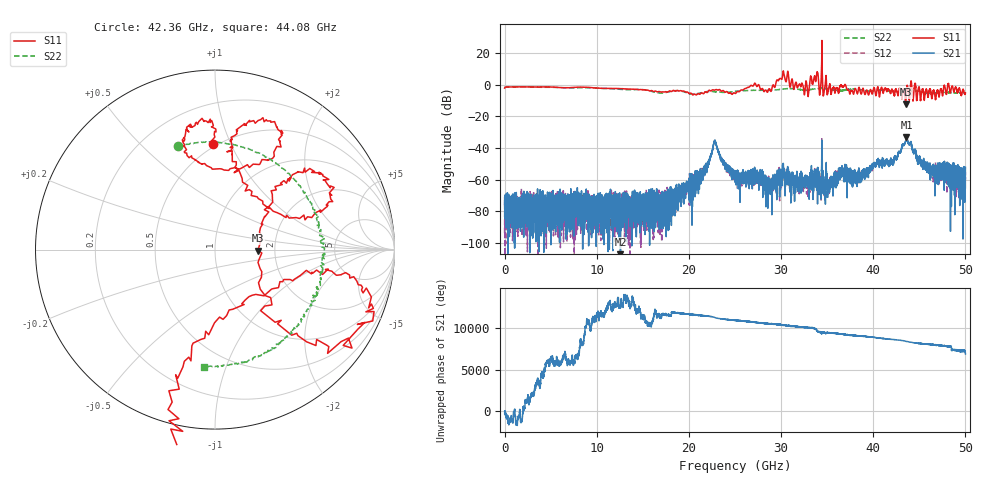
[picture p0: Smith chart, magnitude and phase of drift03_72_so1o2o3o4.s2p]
!Created with skrf (http://scikit-rf.org).
# Hz S RI R 50.0
!freq ReS11 ImS11 ReS21 ImS21 ReS12 ImS12 ReS22 ImS22
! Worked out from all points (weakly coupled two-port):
!   10000 points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, 5.3 MHz to 50 GHz, reference 50 ohm
!   highest |S21| = -33.10 dB at 43.61 GHz (marker M1); lowest = -109.9 dB at 12.58 GHz (marker M2)
!   lowest |S11| = -12.4 dB at 43.52 GHz (marker M3), VSWR 1.63, Z = 81.3 - j0.88 ohm
!   |S11| at or under -10 dB: 43.48211 GHz to 43.55698 GHz (74.87 MHz wide, 0.172 % of centre); 44.31326 GHz to 44.31665 GHz (3.387 MHz wide, 0.00764 % of centre); 44.32462 GHz to 44.33011 GHz (5.496 MHz wide, 0.0124 % of centre) (the widest 3 of 5)
!   |S22| runs from -5.9 to -1.3 dB; largest |S21 - S12| = 0.0058
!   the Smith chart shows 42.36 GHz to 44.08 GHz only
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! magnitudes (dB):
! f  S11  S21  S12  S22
! 5.3 MHz  -2.1  -75.6  -93.8  -2.1
! 8.34 GHz  -1.5  -79.7  -79.4  -1.9
! 12.58 GHz  -2.5  -109.9  -75.8  -2.9
! 16.67 GHz  -4.4  -82.2  -74.2  -5.2
! 20.44 GHz  -6.5  -72.8  -58.1  -5.9
! 21.82 GHz  -4.4  -55.0  -52.4  -4.5
! 22.81 GHz  -3.4  -35.7  -35.4  -4.4
! 25.01 GHz  -5.5  -54.6  -60.1  -4.3
! 27.02 GHz  -0.4  -57.5  -55.2  -3.5
! 28.82 GHz  -3.4  -60.9  -60.8  -3.5
! 30.14 GHz  4.5  -54.1  -57.2  -2.7
! 32.74 GHz  2.1  -58.6  -62.3  -3.4
! 33.34 GHz  2.7  -61.0  -57.9  -2.9
! 35.01 GHz  -6.3  -63.0  -59.4  -2.4
! 36.46 GHz  -0.6  -55.4  -55.8  -3.6
! 38.47 GHz  -1.6  -55.8  -58.3  -3.0
! 41.67 GHz  -2.9  -50.9  -51.3  -3.7
! 43.52 GHz  -12.4  -35.4  -35.4  -4.2
! 43.61 GHz  -3.7  -33.1  -33.8  -4.2
! 46.2 GHz  -3.0  -53.4  -54.5  -5.4
! 49.57 GHz  -6.8  -58.6  -64.6  -5.0
! 50 GHz  -5.2  -52.1  -58.4  -4.9
